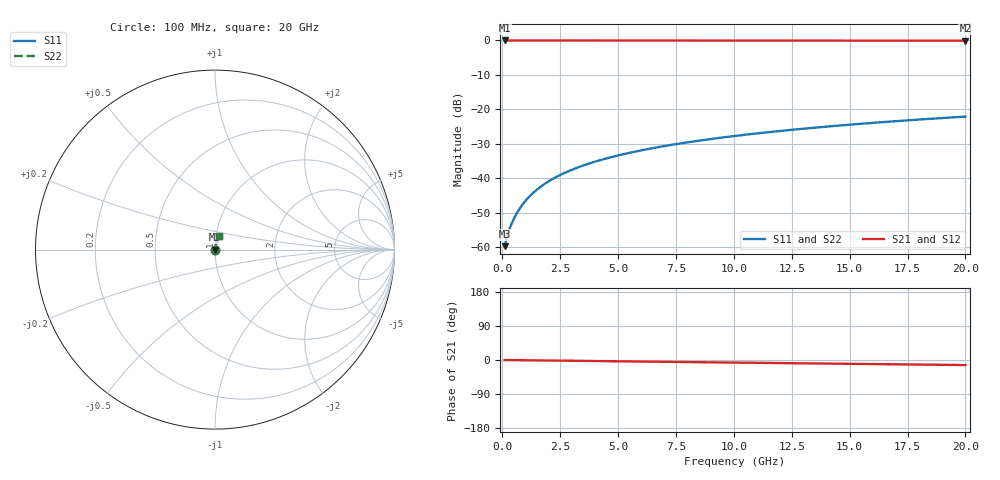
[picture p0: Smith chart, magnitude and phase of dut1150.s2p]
! Touchstone file exported from HFSS 2026.1.0
!  File:  C:/ffzhzh/LocalFiles/Ansys_Project_Files/temp_train_TMRDL_1150_1783162106_22436.aedt
!  Generated:  06:49:39 PM Jul  4, 2026
!  Design:  TMRDL
!  Project:  temp_train_TMRDL_1150_1783162106_22436
! Variables:
!  h_bsmrdl = 2um
!  h_ox = 20um
!  h_rdl = 5um
!  h_sub = 80um
!  h_tmrdl = 5.45um
!  h_tsv = 80um
!  h_via = 3um
!  l_bsmrdl = 300um
!  l_sub = 610.76um
!  l_tmrdl = 210.76um
!  m_sub = 200um
!  pitch = 30.18um
!  r_tsv = 6um
!  s_tmrdl = 10um
!  w_bsmrdl = 18um
!  w_sub = 500um
!  w_tmrdl = 18.79um
!  x_tsv_center1 = 220.155um
!  x_tsv_center2 = 538.155um
!  x_tsv_center3 = 767.705um
!  x_tsv_center4 = 1085.705um
!  x_tsv_center5 = 1315.255um
!  x_tsv_center6 = 1633.255um
# GHz S MA R 50.000000
! Terminal data exported
! Port[1] = TM_RDL1_1_T1
! Port[2] = TM_RDL1_1_T2
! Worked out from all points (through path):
!   200 points, 100 MHz to 20 GHz, reference 50 ohm
!   highest |S21| = -0.01 dB at 100 MHz (marker M1); lowest = -0.1 dB at 20 GHz (marker M2)
!   group delay of S21, straight-line fit = 1.85 ps
!   lowest |S11| = -59.7 dB at 100 MHz (marker M3), VSWR 1.00, Z = 50.1 + j0.0545 ohm
!   |S11| at or under -10 dB: start of sweep to end of sweep
!   |S22| runs from -59.7 to -22.1 dB; largest |S21 - S12| = 3.3e-15
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0.1  0.001033 31.8  0.9991 -0.1  0.9991 -0.1  0.001033 31.8
! Gamma 0 0 0 0
! Port Impedance 50 0 50 0
0.2  0.001402 47.1  0.999 -0.1  0.999 -0.1  0.001402 47.1
0.3  0.001789 55.4  0.999 -0.2  0.999 -0.2  0.001789 55.4
0.4  0.002182 61.0  0.9989 -0.3  0.9989 -0.3  0.002182 61.0
0.5  0.002583 65.0  0.9989 -0.4  0.9989 -0.4  0.002583 65.0
0.6  0.002993 68.0  0.9989 -0.4  0.9989 -0.4  0.002993 68.0
0.8  0.003833 72.1  0.9988 -0.6  0.9988 -0.6  0.003833 72.1
1  0.004688 74.7  0.9988 -0.7  0.9988 -0.7  0.004688 74.7
1.2  0.005551 76.4  0.9988 -0.8  0.9988 -0.8  0.005551 76.4
1.4  0.006417 77.6  0.9987 -1.0  0.9987 -1.0  0.006417 77.6
1.7  0.007715 78.7  0.9986 -1.2  0.9986 -1.2  0.007715 78.7
2.2  0.009866 79.7  0.9984 -1.5  0.9984 -1.5  0.009866 79.7
2.8  0.01241 80.1  0.9982 -1.9  0.9982 -1.9  0.01241 80.1
3.5  0.01533 80.2  0.9979 -2.4  0.9979 -2.4  0.01533 80.2
4.2  0.01819 80.1  0.9976 -2.9  0.9976 -2.9  0.01819 80.1
5  0.02142 79.9  0.9973 -3.4  0.9973 -3.4  0.02141 79.9
6.8  0.02852 79.3  0.9966 -4.6  0.9966 -4.6  0.02852 79.3
8.3  0.03436 78.7  0.9961 -5.6  0.9961 -5.6  0.03436 78.7
10.1  0.04129 78.0  0.9954 -6.8  0.9954 -6.8  0.04129 78.0
13.4  0.05386 76.3  0.9942 -9.0  0.9942 -9.0  0.05386 76.3
16.7  0.06626 74.6  0.9929 -11.2  0.9929 -11.2  0.06626 74.6
20  0.07847 72.7  0.9916 -13.4  0.9916 -13.4  0.07847 72.7
